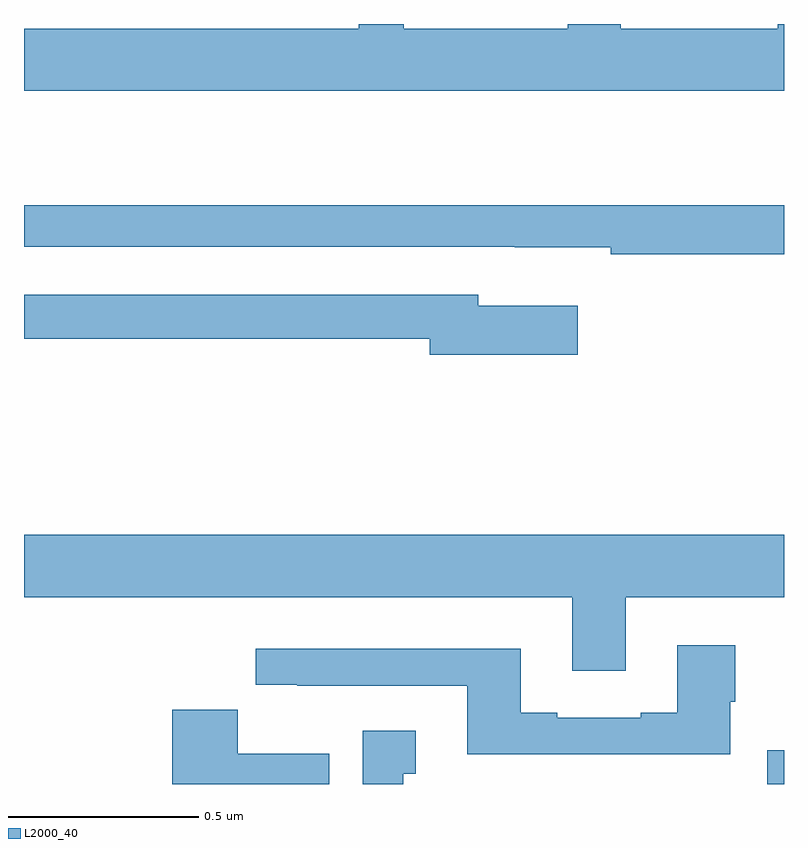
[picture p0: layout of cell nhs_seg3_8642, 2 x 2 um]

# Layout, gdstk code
import gdstk
lib = gdstk.Library(unit=1e-6, precision=1e-09)
def R(c, l, rs):  # rectangles x0, y0, x1, y1
    for r in rs: c.add(gdstk.rectangle(r[:2], r[2:], *l))
def P(c, l, *ps):  # polygons
    for p in ps: c.add(gdstk.Polygon(p, *l))
L2000_40 = (2000, 40)

nhs_seg3_8642 = lib.new_cell('nhs_seg3_8642')
R(nhs_seg3_8642, L2000_40, [(219.956,724.4,220,724.489)])
P(nhs_seg3_8642, L2000_40, [(220,726.4),(219.983,726.4),(219.983,726.388),(219.571,726.388),(219.571,726.4),(219.431,726.4),(219.431,726.388),(218.999,726.388),(218.999,726.4),(218.881,726.4),(218.881,726.388),(218,726.388),(218,726.224),(220,726.224)],
  [(220,725.923),(218,725.923),(218,725.814),(219.292,725.814),(219.292,725.813),(219.544,725.813),(219.544,725.794),(220,725.794)],
  [(219.457,725.659),(219.196,725.659),(219.196,725.688),(218,725.688),(218,725.572),(219.068,725.572),(219.068,725.53),(219.457,725.53)],
  [(219.583,724.892),(220,724.892),(220,725.056),(218,725.056),(218,724.892),(219.443,724.892),(219.443,724.698),(219.583,724.698)],
  [(219.859,724.617),(219.872,724.617),(219.872,724.765),(219.719,724.765),(219.719,724.588),(219.623,724.588),(219.623,724.575),(219.403,724.575),(219.403,724.588),(219.307,724.588),(219.307,724.756),(218.61,724.756),(218.61,724.661),(218.719,724.661),(218.719,724.659),(219.167,724.659),(219.167,724.478),(219.859,724.478)],
  [(218.803,724.48),(218.563,724.48),(218.563,724.596),(218.39,724.596),(218.39,724.4),(218.803,724.4)],
  [(218.998,724.427),(219.031,724.427),(219.031,724.54),(218.891,724.54),(218.891,724.4),(218.998,724.4)])

lib.write_gds('nhs_seg3_8642.gds')
